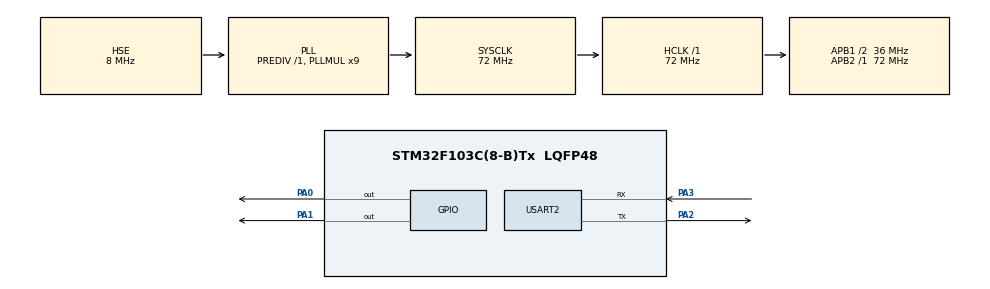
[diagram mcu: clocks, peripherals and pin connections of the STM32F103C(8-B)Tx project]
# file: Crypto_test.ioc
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Mcu.Family=STM32F1
Mcu.Name=STM32F103C(8-B)Tx
Mcu.Package=LQFP48
NVIC.PriorityGroup=NVIC_PRIORITYGROUP_4
PA0-WKUP.Signal=GPIO_Output
PA1.Signal=GPIO_Output
PA2.Mode=Asynchronous
PA2.Signal=USART2_TX
PA3.Mode=Asynchronous
PA3.Signal=USART2_RX
PD0-OSC_IN.Mode=HSE-External-Oscillator
PD0-OSC_IN.Signal=RCC_OSC_IN
PD1-OSC_OUT.Mode=HSE-External-Oscillator
PD1-OSC_OUT.Signal=RCC_OSC_OUT
ProjectManager.HeapSize=0x200
ProjectManager.StackSize=0x400
ProjectManager.TargetToolchain=STM32CubeIDE
RCC.AHBFreq_Value=72000000
RCC.APB1CLKDivider=RCC_HCLK_DIV2
RCC.APB1Freq_Value=36000000
RCC.APB1TimFreq_Value=72000000
RCC.APB2Freq_Value=72000000
RCC.APB2TimFreq_Value=72000000
RCC.HCLKFreq_Value=72000000
RCC.PLLMUL=RCC_PLL_MUL9
RCC.PLLSourceVirtual=RCC_PLLSOURCE_HSE
RCC.SYSCLKFreq_VALUE=72000000
RCC.SYSCLKSource=RCC_SYSCLKSOURCE_PLLCLK
RCC.USBFreq_Value=72000000
USART2.VirtualMode=VM_ASYNC
VP_CRC_VS_CRC.Mode=CRC_Activate
VP_SYS_VS_ND.Mode=No_Debug
board=custom

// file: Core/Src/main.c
/* USER CODE BEGIN Header */
/**
  ******************************************************************************
  * @file           : main.c
  * @brief          : Main program body
  ******************************************************************************
  * @attention
  *
  * Copyright (c) 2023 STMicroelectronics.
  * All rights reserved.
  *
  * This software is licensed under terms that can be found in the LICENSE file
  * in the root directory of this software component.
  * If no LICENSE file comes with this software, it is provided AS-IS.
  *
  ******************************************************************************
  */
/* USER CODE END Header */
#include "main.h"
#include "crc.h"
#include "usart.h"
#include "gpio.h"
#include "cmox_crypto.h"

/* USER CODE BEGIN PV */
#define FAILED  ((TestStatus)0)
#define PASSED  ((TestStatus)1)
typedef uint32_t TestStatus;
cmox_sha3_handle_t sha3_ctx;

__IO TestStatus glob_status = FAILED;
#define CHUNK_SIZE  48u

// ======================== HASH =========================================

const uint8_t Message[] =
{
		0x41
};

/* Computed data buffer */
uint8_t computed_hash[CMOX_SHA3_512_SIZE];
// ======================================================================

// ======================== AES =========================================
const uint8_t Key[] =
{
  0x2b, 0x7e, 0x15, 0x16, 0x28, 0xae, 0xd2, 0xa6, 0xab, 0xf7, 0x15, 0x88, 0x09, 0xcf, 0x4f, 0x3c
};
const uint8_t IV[] =
{
  0x00, 0x01, 0x02, 0x03, 0x04, 0x05, 0x06, 0x07, 0x08, 0x09, 0x0a, 0x0b, 0x0c, 0x0d, 0x0e, 0x0f
};
const uint8_t Plaintext[] =
{
  0x6b, 0xc1, 0xbe, 0xe2, 0x2e, 0x40, 0x9f, 0x96, 0xe9, 0x3d, 0x7e, 0x11, 0x73, 0x93, 0x17, 0x2a,
  0xae, 0x2d, 0x8a, 0x57, 0x1e, 0x03, 0xac, 0x9c, 0x9e, 0xb7, 0x6f, 0xac, 0x45, 0xaf, 0x8e, 0x51,
  0x30, 0xc8, 0x1c, 0x46, 0xa3, 0x5c, 0xe4, 0x11, 0xe5, 0xfb, 0xc1, 0x19, 0x1a, 0x0a, 0x52, 0xef,
  0xf6, 0x9f, 0x24, 0x45, 0xdf, 0x4f, 0x9b, 0x17, 0xad, 0x2b, 0x41, 0x7b, 0xe6, 0x6c, 0x37, 0x10
};
const uint8_t Expected_Ciphertext[] =
{
  0x76, 0x49, 0xab, 0xac, 0x81, 0x19, 0xb2, 0x46, 0xce, 0xe9, 0x8e, 0x9b, 0x12, 0xe9, 0x19, 0x7d,
  0x50, 0x86, 0xcb, 0x9b, 0x50, 0x72, 0x19, 0xee, 0x95, 0xdb, 0x11, 0x3a, 0x91, 0x76, 0x78, 0xb2,
  0x73, 0xbe, 0xd6, 0xb8, 0xe3, 0xc1, 0x74, 0x3b, 0x71, 0x16, 0xe6, 0x9e, 0x22, 0x22, 0x95, 0x16,
  0x3f, 0xf1, 0xca, 0xa1, 0x68, 0x1f, 0xac, 0x09, 0x12, 0x0e, 0xca, 0x30, 0x75, 0x86, 0xe1, 0xa7
};

/* Computed data buffer */
uint8_t Computed_Ciphertext[sizeof(Expected_Ciphertext)];
uint8_t Computed_Plaintext[sizeof(Plaintext)];
// ======================================================================
/* USER CODE END PV */

void SystemClock_Config(void);

int main(void)
{
  /* USER CODE BEGIN 1 */
  cmox_hash_retval_t retval;
  size_t computed_size;
  cmox_hash_handle_t *hash_ctx;
  uint32_t index;
  /* USER CODE END 1 */

  /* MCU Configuration--------------------------------------------------------*/

  /* Reset of all peripherals, Initializes the Flash interface and the Systick. */
  HAL_Init();

  /* Configure the system clock */
  SystemClock_Config();

  /* Initialize all configured peripherals */
  MX_GPIO_Init();
  MX_CRC_Init();
  MX_USART2_UART_Init();
  /* USER CODE BEGIN 2 */
  retval = cmox_hash_compute(CMOX_SHA3_512_ALGO,       /* Use SHA3-512 algorithm */
                             Message, 1, /* Message to digest */
                             computed_hash,            /* Data buffer to receive digest data */
                             CMOX_SHA3_512_SIZE,       /* Expected digest size */
                             &computed_size);          /* Size of computed digest */
  // ======================== AES =========================================
  cmox_cipher_retval_t retval_aes;
  cmox_cipher_handle_t *cipher_ctx;
  retval_aes = cmox_cipher_encrypt(CMOX_AES_CBC_ENC_ALGO,                  /* Use AES CBC algorithm */
                               Plaintext, sizeof(Plaintext),           /* Plaintext to encrypt */
                               Key, sizeof(Key),                       /* AES key to use */
                               IV, sizeof(IV),                         /* Initialization vector */
                               Computed_Ciphertext, &computed_size);   /* Data buffer to receive generated ciphertext */

  retval_aes = cmox_cipher_decrypt(CMOX_AES_CBC_DEC_ALGO,                 /* Use AES CBC algorithm */
                               Expected_Ciphertext, sizeof(Expected_Ciphertext), /* Ciphertext to decrypt */
                               Key, sizeof(Key),                      /* AES key to use */
                               IV, sizeof(IV),                        /* Initialization vector */
                               Computed_Plaintext, &computed_size);   /* Data buffer to receive generated plaintext */

  // ======================================================================

  /* USER CODE END 2 */

  /* Infinite loop */
  while (1)
  {

  }
}

void SystemClock_Config(void)
{
  RCC_OscInitTypeDef RCC_OscInitStruct = {0};
  RCC_ClkInitTypeDef RCC_ClkInitStruct = {0};

  /** Initializes the RCC Oscillators according to the specified parameters
  * in the RCC_OscInitTypeDef structure.
  */
  RCC_OscInitStruct.OscillatorType = RCC_OSCILLATORTYPE_HSE;
  RCC_OscInitStruct.HSEState = RCC_HSE_ON;
  RCC_OscInitStruct.HSEPredivValue = RCC_HSE_PREDIV_DIV1;
  RCC_OscInitStruct.HSIState = RCC_HSI_ON;
  RCC_OscInitStruct.PLL.PLLState = RCC_PLL_ON;
  RCC_OscInitStruct.PLL.PLLSource = RCC_PLLSOURCE_HSE;
  RCC_OscInitStruct.PLL.PLLMUL = RCC_PLL_MUL9;
  if (HAL_RCC_OscConfig(&RCC_OscInitStruct) != HAL_OK)
  {
    Error_Handler();
  }

  /** Initializes the CPU, AHB and APB buses clocks
  */
  RCC_ClkInitStruct.ClockType = RCC_CLOCKTYPE_HCLK|RCC_CLOCKTYPE_SYSCLK
                              |RCC_CLOCKTYPE_PCLK1|RCC_CLOCKTYPE_PCLK2;
  RCC_ClkInitStruct.SYSCLKSource = RCC_SYSCLKSOURCE_PLLCLK;
  RCC_ClkInitStruct.AHBCLKDivider = RCC_SYSCLK_DIV1;
  RCC_ClkInitStruct.APB1CLKDivider = RCC_HCLK_DIV2;
  RCC_ClkInitStruct.APB2CLKDivider = RCC_HCLK_DIV1;

  if (HAL_RCC_ClockConfig(&RCC_ClkInitStruct, FLASH_LATENCY_2) != HAL_OK)
  {
    Error_Handler();
  }
}

void Error_Handler(void)
{
  __disable_irq();
  while (1)
  {
  }
}
